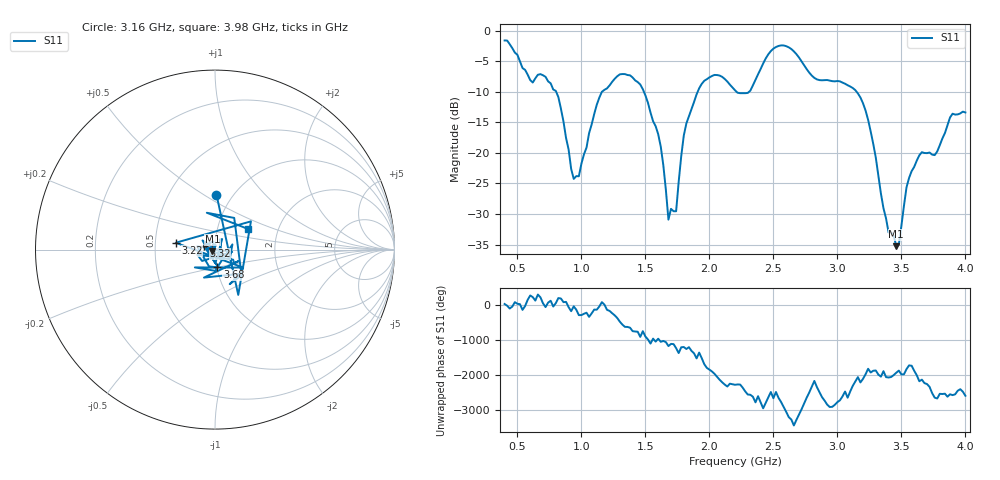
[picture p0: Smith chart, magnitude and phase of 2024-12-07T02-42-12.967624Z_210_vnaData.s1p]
!Created with skrf (http://scikit-rf.org).
# Hz S RI R 50.0
!freq ReS11 ImS11
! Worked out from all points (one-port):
!   181 points, 400 MHz to 4 GHz, reference 50 ohm
!   lowest |S11| = -35.3 dB at 3.46 GHz (marker M1), VSWR 1.04, Z = 48.6 - j0.964 ohm
!   |S11| at or under -10 dB: 802.9 MHz to 1.16 GHz (357.6 MHz wide, 36.4 % of centre); 1.488 GHz to 1.909 GHz (420.3 MHz wide, 24.7 % of centre); 3.15 GHz to end of sweep (the widest 3 of 4)
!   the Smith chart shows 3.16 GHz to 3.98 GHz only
!   S11 on the Smith chart (normalised r, x): 3.16 GHz: 0.84, +0.57; 3.22 GHz: 0.64, +0.05; 3.32 GHz: 0.88, +0.04; 3.68 GHz: 1.01, -0.20; 3.98 GHz: 1.41, +0.34
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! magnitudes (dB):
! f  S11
! 400 MHz  -1.6
! 760 MHz  -8.6
! 860 MHz  -14.9
! 940 MHz  -24.3
! 980 MHz  -23.8
! 1.14 GHz  -11.0
! 1.3 GHz  -7.1
! 1.52 GHz  -11.8
! 1.62 GHz  -19.0
! 1.68 GHz  -30.9
! 1.74 GHz  -29.6
! 1.76 GHz  -24.7
! 1.82 GHz  -15.2
! 1.94 GHz  -8.7
! 2.2 GHz  -9.8
! 2.32 GHz  -9.8
! 2.5 GHz  -2.9
! 2.66 GHz  -3.4
! 3.1 GHz  -9.1
! 3.16 GHz  -10.3
! 3.22 GHz  -13.1
! 3.32 GHz  -23.7
! 3.4 GHz  -33.0
! 3.46 GHz  -35.3
! 3.56 GHz  -24.1
! 3.68 GHz  -20.0
! 3.98 GHz  -13.3
! 4 GHz  -13.4
